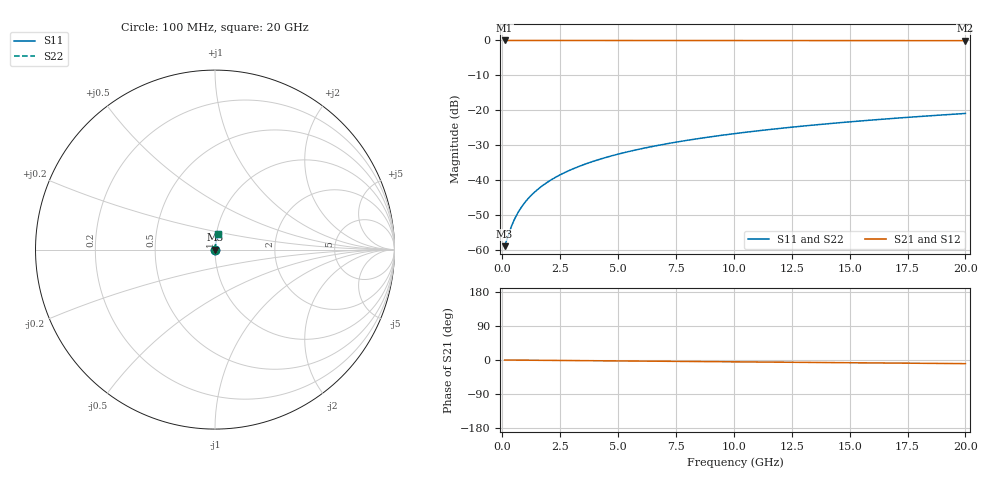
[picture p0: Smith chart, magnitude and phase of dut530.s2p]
! Touchstone file exported from HFSS 2026.1.0
!  File:  C:/ffzhzh/LocalFiles/Ansys_Project_Files/temp_train_TSV_530_1783023693_46388.aedt
!  Generated:  04:24:10 AM Jul  3, 2026
!  Design:  TSV
!  Project:  temp_train_TSV_530_1783023693_46388
! Variables:
!  h_bsmrdl = 2um
!  h_ox = 20um
!  h_rdl = 5um
!  h_sub = 81.85um
!  h_tmrdl = 5um
!  h_tsv = 81.85um
!  h_via = 3um
!  l_bsmrdl = 300um
!  l_sub = 406.16um
!  l_tmrdl = 200um
!  m_sub = 200um
!  pitch = 33.3um
!  r_tsv = 3.08um
!  s_tmrdl = 10um
!  w_bsmrdl = 18um
!  w_sub = 500um
!  w_tmrdl = 12um
!  x_tsv_center1 = 206um
!  x_tsv_center2 = 524um
!  x_tsv_center3 = 736um
!  x_tsv_center4 = 1054um
!  x_tsv_center5 = 1266um
!  x_tsv_center6 = 1584um
# GHz S MA R 50.000000
! Terminal data exported
! Port[1] = TSV1_1_T1
! Port[2] = TSV1_1_T2
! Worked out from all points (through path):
!   200 points, 100 MHz to 20 GHz, reference 50 ohm
!   highest |S21| = -0.01 dB at 100 MHz (marker M1); lowest = -0.1 dB at 20 GHz (marker M2)
!   group delay of S21, straight-line fit = 1.33 ps
!   lowest |S11| = -59.0 dB at 100 MHz (marker M3), VSWR 1.00, Z = 50.1 + j0.0484 ohm
!   |S11| at or under -10 dB: start of sweep to end of sweep
!   |S22| runs from -59.0 to -20.9 dB; largest |S21 - S12| = 6.4e-15
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0.1  0.001119 25.6  0.999 -0.0  0.999 -0.0  0.001119 25.6
! Gamma 0 0 0 0
! Port Impedance 50 0 50 0
0.3  0.00177 54.4  0.999 -0.1  0.999 -0.1  0.00177 54.4
0.4  0.002177 61.4  0.999 -0.2  0.999 -0.2  0.002177 61.4
0.5  0.002605 66.1  0.999 -0.2  0.999 -0.2  0.002605 66.1
0.6  0.003044 69.5  0.9989 -0.3  0.9989 -0.3  0.003044 69.5
0.7  0.00349 72.0  0.9989 -0.3  0.9989 -0.3  0.00349 72.0
0.9  0.004397 75.4  0.9989 -0.4  0.9989 -0.4  0.004397 75.4
1.2  0.005777 78.5  0.9989 -0.6  0.9989 -0.6  0.005777 78.5
1.4  0.006703 79.8  0.9989 -0.7  0.9989 -0.7  0.006703 79.8
1.7  0.008097 81.2  0.9988 -0.8  0.9988 -0.8  0.008097 81.2
2.2  0.01043 82.5  0.9988 -1.1  0.9988 -1.1  0.01043 82.5
2.8  0.01322 83.3  0.9987 -1.4  0.9987 -1.4  0.01322 83.3
3.5  0.01647 83.7  0.9985 -1.7  0.9985 -1.7  0.01647 83.7
4.2  0.01971 83.8  0.9984 -2.1  0.9984 -2.1  0.01971 83.8
5  0.02338 83.8  0.9982 -2.4  0.9982 -2.4  0.02338 83.8
5.9  0.0275 83.6  0.9979 -2.9  0.9979 -2.9  0.0275 83.6
6.8  0.03158 83.4  0.9977 -3.3  0.9977 -3.3  0.03158 83.4
8.3  0.03833 82.9  0.9972 -4.0  0.9972 -4.0  0.03833 82.9
10.1  0.04637 82.2  0.9966 -4.9  0.9966 -4.9  0.04637 82.2
13.4  0.06094 81.0  0.9954 -6.5  0.9954 -6.5  0.06094 81.0
16.7  0.07536 79.6  0.9941 -8.0  0.9941 -8.0  0.07536 79.6
20  0.08966 78.3  0.9926 -9.6  0.9926 -9.6  0.08966 78.3
